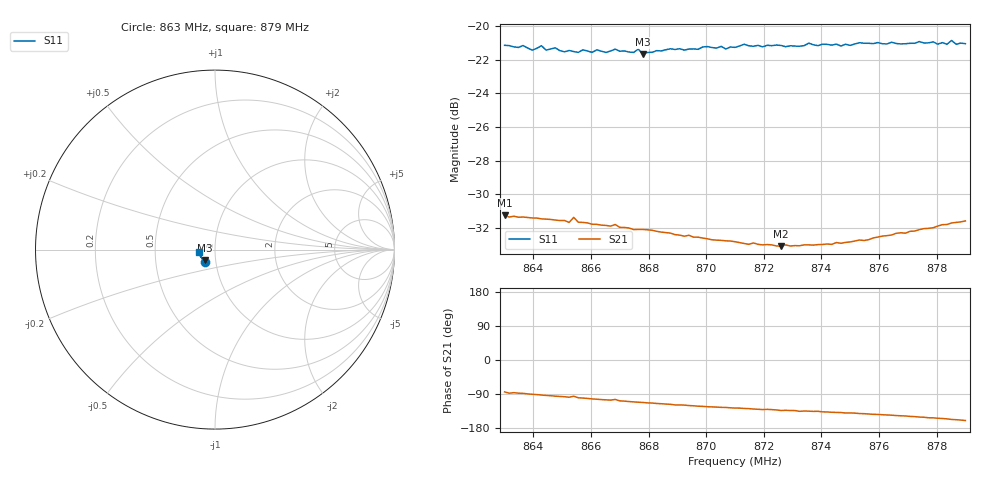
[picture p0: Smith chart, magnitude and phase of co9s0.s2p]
# HZ S RI R 50
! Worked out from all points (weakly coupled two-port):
!   101 points, 863 MHz to 879 MHz, reference 50 ohm
!   highest |S21| = -31.27 dB at 863 MHz (marker M1); lowest = -33.1 dB at 872.6 MHz (marker M2)
!   lowest |S11| = -21.7 dB at 867.8 MHz (marker M3), VSWR 1.18, Z = 44.2 - j5.18 ohm
!   |S11| at or under -10 dB: start of sweep to end of sweep
!   S12 and S22 are empty: the file has one direction only
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8.63e8  -0.0556 -0.0678  0.00278 -0.0272  0 0  0 0
8.6364e8  -0.0564 -0.067  0.000962 -0.027  0 0  0 0
8.6396e8  -0.0546 -0.0649  -0.00023 -0.0268  0 0  0 0
8.6428e8  -0.0559 -0.0673  -0.00117 -0.0267  0 0  0 0
8.6444e8  -0.0549 -0.0646  -0.00163 -0.0266  0 0  0 0
8.6524e8  -0.0561 -0.0634  -0.00374 -0.0258  0 0  0 0
8.654e8  -0.0535 -0.0647  -0.00259 -0.0268  0 0  0 0
8.6572e8  -0.0567 -0.0633  -0.0047 -0.0256  0 0  0 0
8.6684e8  -0.0587 -0.062  -0.00624 -0.0249  0 0  0 0
8.6748e8  -0.0582 -0.0599  -0.0087 -0.0232  0 0  0 0
8.6764e8  -0.0593 -0.0615  -0.00906 -0.0231  0 0  0 0
8.678e8  -0.0585 -0.0583  -0.00931 -0.023  0 0  0 0
8.6844e8  -0.0612 -0.0581  -0.0105 -0.022  0 0  0 0
8.71e8  -0.0687 -0.0525  -0.0137 -0.0183  0 0  0 0
8.7132e8  -0.071 -0.0526  -0.0138 -0.0178  0 0  0 0
8.726e8  -0.0739 -0.047  -0.0152 -0.0161  0 0  0 0
8.7372e8  -0.0763 -0.0438  -0.0159 -0.0156  0 0  0 0
8.7644e8  -0.0847 -0.0292  -0.0197 -0.0135  0 0  0 0
8.7836e8  -0.0866 -0.0174  -0.0233 -0.0107  0 0  0 0
8.7852e8  -0.0889 -0.0176  -0.0239 -0.0102  0 0  0 0
8.7868e8  -0.0871 -0.0145  -0.0241 -0.00996  0 0  0 0
8.79e8  -0.0876 -0.0135  -0.0247 -0.00912  0 0  0 0
